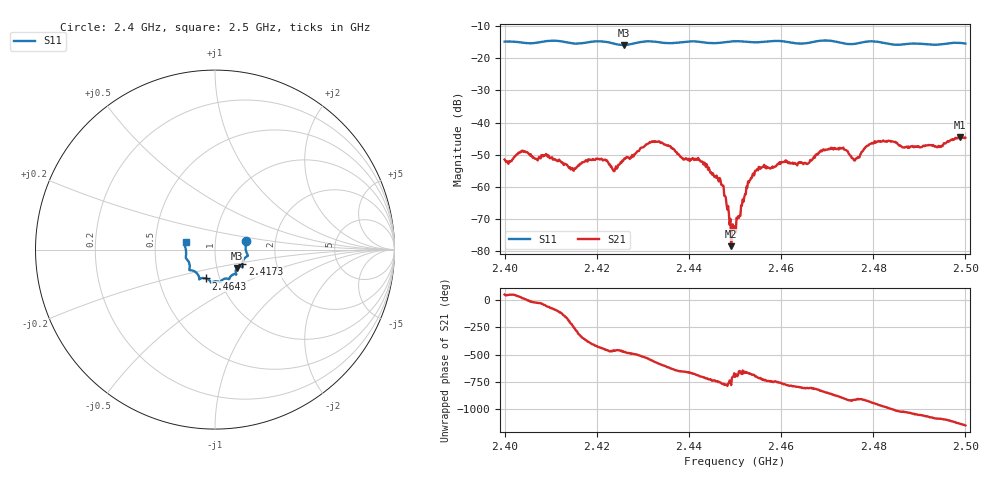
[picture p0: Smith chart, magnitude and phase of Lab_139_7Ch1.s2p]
# Hz S RI R 50
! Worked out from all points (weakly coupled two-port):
!   601 points, 2.4 GHz to 2.5 GHz, reference 50 ohm
!   highest |S21| = -44.55 dB at 2.4988 GHz (marker M1); lowest = -78.4 dB at 2.4492 GHz (marker M2)
!   lowest |S11| = -15.9 dB at 2.4258 GHz (marker M3), VSWR 1.38, Z = 62.3 - j13.3 ohm
!   |S11| at or under -10 dB: start of sweep to end of sweep
!   S12 and S22 are empty: the file has one direction only
!   S11 on the Smith chart (normalised r, x): 2.4 GHz: 1.41, +0.14; 2.4173 GHz: 1.34, -0.23; 2.4643 GHz: 0.86, -0.28; 2.5 GHz: 0.72, +0.06
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2.4e9  0.1735 0.0494  0.00175 0.002  0 0  0 0
2.404e9  0.172 0.025  0.00352 0.000869  0 0  0 0
2.4145e9  0.1629 -0.0507  -0.00149 0.00124  0 0  0 0
2.416667e9  0.1532 -0.0746  0.00211 0.000949  0 0  0 0
2.417333e9  0.1523 -0.082  0.00245 0.000144  0 0  0 0
2.423833e9  0.1385 -0.0944  -0.000443 -0.0017  0 0  0 0
2.425833e9  0.1218 -0.1037  -0.00108 -0.00241  0 0  0 0
2.433333e9  0.1127 -0.1368  -0.00384 0.0033  0 0  0 0
2.446333e9  0.0451 -0.1661  0.00112 -0.000675  0 0  0 0
2.4475e9  0.0377 -0.1714  0.000738 -0.000728  0 0  0 0
2.449167e9  0.0316 -0.1786  6.25e-05 -0.000102  0 0  0 0
2.45e9  0.0293 -0.1809  0.000229 6.41e-05  0 0  0 0
2.453e9  0.0174 -0.1777  0.00079 0.00085  0 0  0 0
2.454833e9  0.00329 -0.1762  0.00184 0.000421  0 0  0 0
2.464333e9  -0.0499 -0.1606  0.000483 -0.00231  0 0  0 0
2.466667e9  -0.076 -0.1597  1.91e-05 -0.0026  0 0  0 0
2.471167e9  -0.0872 -0.1622  -0.00332 -0.00227  0 0  0 0
2.476167e9  -0.1182 -0.1191  -0.00262 0.000637  0 0  0 0
2.483333e9  -0.1406 -0.0898  -0.000191 0.0052  0 0  0 0
2.494167e9  -0.1621 0.000149  0.00432 -0.000365  0 0  0 0
2.498833e9  -0.1688 0.036  0.00364 -0.00467  0 0  0 0
2.5e9  -0.1631 0.0421  0.00224 -0.00536  0 0  0 0
